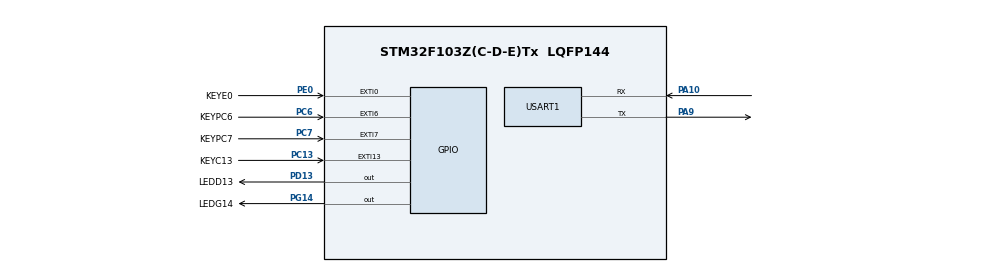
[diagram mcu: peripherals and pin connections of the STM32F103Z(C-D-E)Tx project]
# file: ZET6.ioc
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Mcu.Family=STM32F1
Mcu.Name=STM32F103Z(C-D-E)Tx
Mcu.Package=LQFP144
NVIC.EXTI0_IRQn=true\:3\:0\:true\:false\:true\:true
NVIC.EXTI15_10_IRQn=true\:2\:0\:true\:false\:true\:true
NVIC.EXTI9_5_IRQn=true\:1\:0\:true\:false\:true\:true
NVIC.PriorityGroup=NVIC_PRIORITYGROUP_4
NVIC.USART1_IRQn=true\:3\:0\:true\:false\:true\:true
OSC_IN.Mode=HSE-External-Oscillator
OSC_IN.Signal=RCC_OSC_IN
OSC_OUT.Mode=HSE-External-Oscillator
OSC_OUT.Signal=RCC_OSC_OUT
PA10.Mode=Asynchronous
PA10.Signal=USART1_RX
PA13.Mode=Serial_Wire
PA13.Signal=SYS_JTMS-SWDIO
PA14.Mode=Serial_Wire
PA14.Signal=SYS_JTCK-SWCLK
PA9.Mode=Asynchronous
PA9.Signal=USART1_TX
PC13-TAMPER-RTC.GPIO_Label=KEYC13
PC13-TAMPER-RTC.GPIO_ModeDefaultEXTI=GPIO_MODE_IT_FALLING
PC13-TAMPER-RTC.GPIO_PuPd=GPIO_PULLUP
PC13-TAMPER-RTC.Signal=GPXTI13
PC6.GPIO_Label=KEYPC6
PC6.GPIO_ModeDefaultEXTI=GPIO_MODE_IT_FALLING
PC6.GPIO_PuPd=GPIO_PULLUP
PC6.Signal=GPXTI6
PC7.GPIO_Label=KEYPC7
PC7.GPIO_ModeDefaultEXTI=GPIO_MODE_IT_FALLING
PC7.GPIO_PuPd=GPIO_PULLUP
PC7.Signal=GPXTI7
PD13.GPIO_Label=LEDD13
PD13.Signal=GPIO_Output
PE0.GPIO_Label=KEYE0
PE0.GPIO_ModeDefaultEXTI=GPIO_MODE_IT_FALLING
PE0.GPIO_PuPd=GPIO_PULLUP
PE0.Signal=GPXTI0
PG14.GPIO_Label=LEDG14
PG14.Signal=GPIO_Output
ProjectManager.HeapSize=0x200
ProjectManager.StackSize=0x400
ProjectManager.TargetToolchain=MDK-ARM V5
RCC.APB1Freq_Value=8000000
RCC.APB2Freq_Value=8000000
RCC.EnbaleCSS=true
RCC.PLLSourceVirtual=RCC_PLLSOURCE_HSE
RCC.SYSCLKSource=RCC_SYSCLKSOURCE_HSE
RCC.USBFreq_Value=16000000
USART1.VirtualMode=VM_ASYNC
board=custom

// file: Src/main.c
/* USER CODE BEGIN Header */
/**
  ******************************************************************************
  * @file           : main.c
  * @brief          : Main program body
  ******************************************************************************
  ** This notice applies to any and all portions of this file
  * that are not between comment pairs USER CODE BEGIN and
  * USER CODE END. Other portions of this file, whether
  * inserted by the user or by software development tools
  * are owned by their respective copyright owners.
  *
  * COPYRIGHT(c) 2019 STMicroelectronics
  *
  * Redistribution and use in source and binary forms, with or without modification,
  * are permitted provided that the following conditions are met:
  *   1. Redistributions of source code must retain the above copyright notice,
  *      this list of conditions and the following disclaimer.
  *   2. Redistributions in binary form must reproduce the above copyright notice,
  *      this list of conditions and the following disclaimer in the documentation
  *      and/or other materials provided with the distribution.
  *   3. Neither the name of STMicroelectronics nor the names of its contributors
  *      may be used to endorse or promote products derived from this software
  *      without specific prior written permission.
  *
  * THIS SOFTWARE IS PROVIDED BY THE COPYRIGHT HOLDERS AND CONTRIBUTORS "AS IS"
  * AND ANY EXPRESS OR IMPLIED WARRANTIES, INCLUDING, BUT NOT LIMITED TO, THE
  * IMPLIED WARRANTIES OF MERCHANTABILITY AND FITNESS FOR A PARTICULAR PURPOSE ARE
  * DISCLAIMED. IN NO EVENT SHALL THE COPYRIGHT HOLDER OR CONTRIBUTORS BE LIABLE
  * FOR ANY DIRECT, INDIRECT, INCIDENTAL, SPECIAL, EXEMPLARY, OR CONSEQUENTIAL
  * DAMAGES (INCLUDING, BUT NOT LIMITED TO, PROCUREMENT OF SUBSTITUTE GOODS OR
  * SERVICES; LOSS OF USE, DATA, OR PROFITS; OR BUSINESS INTERRUPTION) HOWEVER
  * CAUSED AND ON ANY THEORY OF LIABILITY, WHETHER IN CONTRACT, STRICT LIABILITY,
  * OR TORT (INCLUDING NEGLIGENCE OR OTHERWISE) ARISING IN ANY WAY OUT OF THE USE
  * OF THIS SOFTWARE, EVEN IF ADVISED OF THE POSSIBILITY OF SUCH DAMAGE.
  *
  ******************************************************************************
  */
/* USER CODE END Header */

#include "main.h"
#include "usart.h"
#include "gpio.h"

/* USER CODE BEGIN PTD */
void HAL_GPIO_EXTI_Callback(uint16_t GPIO_Pin)
{
	printf("GPIO_Pin=%08x\r\n",GPIO_Pin);
  if(GPIO_Pin==KEYC13_Pin)
	{
				HAL_Delay(2);
				if(HAL_GPIO_ReadPin(KEYC13_GPIO_Port,KEYC13_Pin)==0)
				printf("KEYC13_Pin--");

	}
	else  if(GPIO_Pin==KEYE0_Pin)
	{
				HAL_Delay(2);
				if(HAL_GPIO_ReadPin(KEYE0_GPIO_Port,KEYE0_Pin)==0)
				printf("KEYE0_Pin--");

#if SAME
				else if(HAL_GPIO_ReadPin(KEYE00_GPIO_Port,KEYE00_Pin)==0)
				printf("KEYE00_Pin--");

		    else
				 printf("NOT KNOW--");
#endif
	}

	else  if(GPIO_Pin==KEYPC6_Pin)
	{
				HAL_Delay(2);
				if(HAL_GPIO_ReadPin(KEYPC6_GPIO_Port,KEYPC6_Pin)==0)
				printf("KEYPC6_Pin--");

	}
		else  if(GPIO_Pin==KEYPC7_Pin)
	{
				HAL_Delay(2);
				if(HAL_GPIO_ReadPin(KEYPC7_GPIO_Port,KEYPC7_Pin)==0)
				printf("KEYPC7_Pin--");

	}
	else printf("ERR COM--");

}
/* USER CODE END PTD */

void SystemClock_Config(void);

int main(void)
{

  /* MCU Configuration--------------------------------------------------------*/

  /* Reset of all peripherals, Initializes the Flash interface and the Systick. */
  HAL_Init();

  /* Configure the system clock */
  SystemClock_Config();

  /* Initialize all configured peripherals */
  MX_GPIO_Init();
  MX_USART1_UART_Init();

  /* Infinite loop */
  /* USER CODE BEGIN WHILE */
  while (1)
  {
		printf("\r\n%s\r\n",__FUNCTION__);
		HAL_Delay(2000);
    /* USER CODE END WHILE */

  }
}

void SystemClock_Config(void)
{
  RCC_OscInitTypeDef RCC_OscInitStruct = {0};
  RCC_ClkInitTypeDef RCC_ClkInitStruct = {0};

  /**Initializes the CPU, AHB and APB busses clocks
  */
  RCC_OscInitStruct.OscillatorType = RCC_OSCILLATORTYPE_HSE;
  RCC_OscInitStruct.HSEState = RCC_HSE_ON;
  RCC_OscInitStruct.PLL.PLLState = RCC_PLL_NONE;
  if (HAL_RCC_OscConfig(&RCC_OscInitStruct) != HAL_OK)
  {
    Error_Handler();
  }
  /**Initializes the CPU, AHB and APB busses clocks
  */
  RCC_ClkInitStruct.ClockType = RCC_CLOCKTYPE_HCLK|RCC_CLOCKTYPE_SYSCLK
                              |RCC_CLOCKTYPE_PCLK1|RCC_CLOCKTYPE_PCLK2;
  RCC_ClkInitStruct.SYSCLKSource = RCC_SYSCLKSOURCE_HSE;
  RCC_ClkInitStruct.AHBCLKDivider = RCC_SYSCLK_DIV1;
  RCC_ClkInitStruct.APB1CLKDivider = RCC_HCLK_DIV1;
  RCC_ClkInitStruct.APB2CLKDivider = RCC_HCLK_DIV1;

  if (HAL_RCC_ClockConfig(&RCC_ClkInitStruct, FLASH_LATENCY_0) != HAL_OK)
  {
    Error_Handler();
  }
  /**Enables the Clock Security System
  */
  HAL_RCC_EnableCSS();
}

void Error_Handler(void)
{
}

/************************ (C) COPYRIGHT STMicroelectronics *****END OF FILE****/
